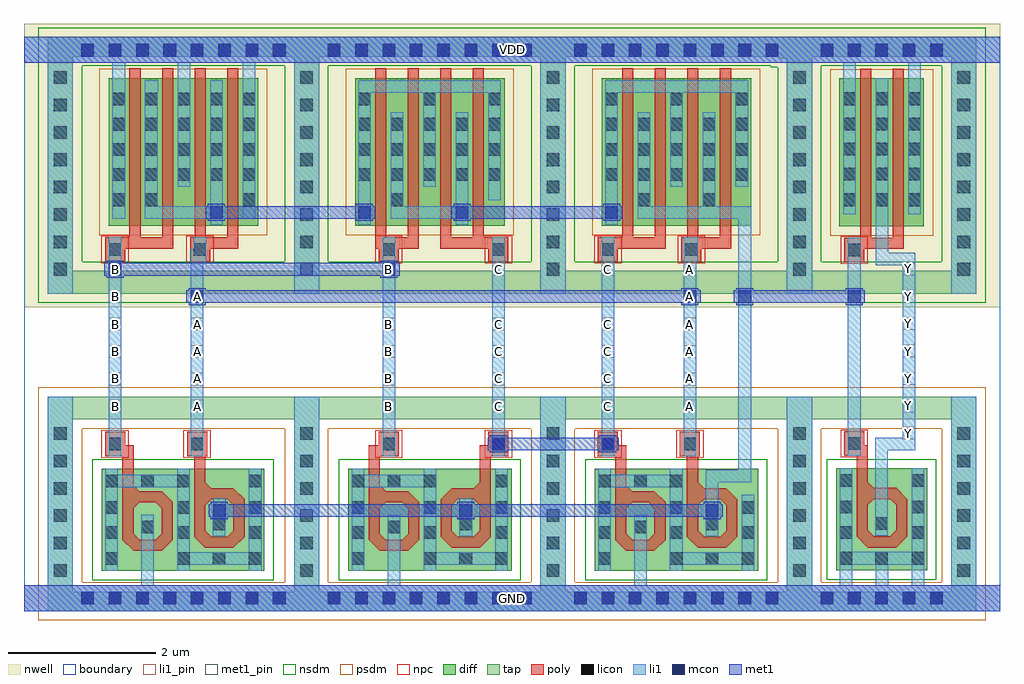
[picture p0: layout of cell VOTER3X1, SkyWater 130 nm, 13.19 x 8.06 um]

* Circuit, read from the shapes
.subckt VOTER3X1 A B C GND VDD Y
XM1 n1 B GND GND sky130_fd_pr__nfet_01v8 w=2.6 l=0.1476
XM2 n1 A n2 GND sky130_fd_pr__nfet_01v8 w=2.56 l=0.1474
XM3 n3 B GND GND sky130_fd_pr__nfet_01v8 w=2.6 l=0.1469
XM4 n3 C n2 GND sky130_fd_pr__nfet_01v8 w=2.56 l=0.1479
XM5 n4 C GND GND sky130_fd_pr__nfet_01v8 w=2.6 l=0.1475
XM6 n4 A n2 GND sky130_fd_pr__nfet_01v8 w=2.56 l=0.1474
XM7 GND n2 Y GND sky130_fd_pr__nfet_01v8 w=2.56 l=0.1492
XM8 n5 B VDD VDD sky130_fd_pr__pfet_01v8 w=2 l=0.15 m=2
XM9 n5 A VDD VDD sky130_fd_pr__pfet_01v8 w=2 l=0.15 m=2
XM10 n6 B n5 VDD sky130_fd_pr__pfet_01v8 w=2 l=0.15 m=2
XM11 n6 C n5 VDD sky130_fd_pr__pfet_01v8 w=2 l=0.15 m=2
XM12 n2 C n6 VDD sky130_fd_pr__pfet_01v8 w=2 l=0.15 m=2
XM13 n2 A n6 VDD sky130_fd_pr__pfet_01v8 w=2 l=0.15 m=2
XM14 Y n2 VDD VDD sky130_fd_pr__pfet_01v8 w=2 l=0.15 m=2
.ends

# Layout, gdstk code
from math import pi, radians
import gdstk
lib = gdstk.Library(unit=1e-6, precision=1e-09)
def R(c, l, rs):  # rectangles x0, y0, x1, y1
    for r in rs: c.add(gdstk.rectangle(r[:2], r[2:], *l))
def A(c, l, x, y, w, h, nx, ny, dx, dy):  # array of equal rectangles
    R(c, l, [(x+i*dx, y+j*dy, x+i*dx+w, y+j*dy+h) for i in range(nx) for j in range(ny)])
def P(c, l, *ps):  # polygons
    for p in ps: c.add(gdstk.Polygon(p, *l))
nwell = (64, 20)
diff = (65, 20)
tap = (65, 44)
poly = (66, 20)
licon = (66, 44)
li1_pin = (67, 16)
li1 = (67, 20)
mcon = (67, 44)
met1_pin = (68, 16)
met1 = (68, 20)
nsdm = (93, 44)
psdm = (94, 20)
npc = (95, 20)
boundary = (235, 4)

diff_ring_side = lib.new_cell('diff_ring_side')
R(diff_ring_side, nwell, [(-0.435,3.93,0.435,7.75)])
R(diff_ring_side, tap, [(-0.17,-0.17,0.17,2.72), (-0.17,4.11,0.17,7.57)])
A(diff_ring_side, licon, -0.085, 0.285, 0.17, 0.17, 1, 6, 0, 0.37)
A(diff_ring_side, licon, -0.085, 4.355, 0.17, 0.17, 1, 8, 0, 0.37)
R(diff_ring_side, li1, [(-0.17,-0.17,0.17,2.72), (-0.17,4.11,0.17,7.57)])
R(diff_ring_side, met1, [(-0.17,-0.17,0.17,0.17), (-0.17,7.23,0.17,7.57)])
R(diff_ring_side, nsdm, [(-0.295,3.985,0.295,7.695)])
R(diff_ring_side, psdm, [(-0.295,-0.295,0.295,2.845)])

li1_m1_contact = lib.new_cell('li1_M1_contact')
R(li1_m1_contact, li1, [(-0.085,-0.165,0.085,0.165)])
R(li1_m1_contact, mcon, [(-0.085,-0.085,0.085,0.085)])
R(li1_m1_contact, met1, [(-0.115,-0.115,0.115,-0.085), (-0.265,-0.085,0.145,0.085), (-0.115,0.085,0.115,0.115)])

nmos_bottom = lib.new_cell('nmos_bottom')
R(nmos_bottom, diff, [(0,0,1.24,1.38)])
R(nmos_bottom, poly, [(0.43,0.27,0.81,0.42), (0.28,0.42,0.43,0.925), (0.81,0.42,0.96,0.925), (0.43,0.925,0.96,1.075), (0.81,1.075,0.96,1.51)])
P(nmos_bottom, poly, [(0.73,1.075),(0.81,1.075),(0.81,1.155)],
  [(0.28,0.925),(0.43,0.925),(0.43,1.075)],
  [(0.43,0.845),(0.43,0.925),(0.51,0.925)],
  [(0.73,0.925),(0.81,0.925),(0.81,0.845)],
  [(0.43,0.5),(0.43,0.42),(0.51,0.42)],
  [(0.73,0.42),(0.81,0.42),(0.81,0.5)],
  [(0.28,0.42),(0.43,0.42),(0.43,0.27)],
  [(0.81,0.27),(0.81,0.42),(0.96,0.42)])
A(nmos_bottom, licon, 0.05, 1.13, 0.17, 0.17, 3, 1, 0.485, 0)
R(nmos_bottom, licon, [(0.05,0.08,0.22,0.25), (1.02,0.08,1.19,0.25), (0.05,0.43,0.22,0.6), (1.02,0.43,1.19,0.6), (0.535,0.505,0.705,0.675), (0.05,0.77,0.22,0.94), (1.02,0.77,1.19,0.94)])
R(nmos_bottom, li1, [(0.05,0,0.22,1.13), (1.02,0,1.19,1.13), (0.535,0.425,0.705,0.755), (0.05,1.13,1.19,1.3), (0.05,1.3,0.22,1.38), (1.02,1.3,1.19,1.38)])
R(nmos_bottom, nsdm, [(-0.125,-0.125,1.365,1.505)])

pmos2_1 = lib.new_cell('pmos2_1')
R(pmos2_1, nwell, [(0.26,-2.175,1.76,0.185)])
R(pmos2_1, diff, [(0.44,-1.995,1.58,0.005)])
R(pmos2_1, poly, [(0.72,-2.3,1.31,-2.15), (0.72,-2.15,0.87,0.135), (1.16,-2.15,1.31,0.135)])
A(pmos2_1, licon, 0.49, -1.385, 0.17, 0.17, 3, 3, 0.44, 0.34)
A(pmos2_1, li1, 0.49, -1.465, 0.17, 1.01, 3, 1, 0.44, 0)
R(pmos2_1, psdm, [(0.315,-2.12,1.705,0.13)])

poly_li1_contact = lib.new_cell('poly_li1_contact')
R(poly_li1_contact, poly, [(-0.16,-0.14,0.17,0.13)])
R(poly_li1_contact, licon, [(-0.08,-0.09,0.09,0.08)])
R(poly_li1_contact, li1, [(-0.16,-0.09,0.17,0.08)])
R(poly_li1_contact, npc, [(-0.18,-0.19,0.19,0.18)])

nmos_top = lib.new_cell('nmos_top')
R(nmos_top, diff, [(0,0,1.23,1.38)])
R(nmos_top, poly, [(0.42,0.31,0.8,0.46), (0.27,0.46,0.42,0.965), (0.8,0.46,0.95,0.965), (0.42,0.965,0.95,1.115), (0.8,1.115,0.95,1.54)])
P(nmos_top, poly, [(0.72,1.115),(0.8,1.115),(0.8,1.195)],
  [(0.27,0.965),(0.42,0.965),(0.42,1.115)],
  [(0.42,0.885),(0.42,0.965),(0.5,0.965)],
  [(0.72,0.965),(0.8,0.965),(0.8,0.885)],
  [(0.42,0.54),(0.42,0.46),(0.5,0.46)],
  [(0.72,0.46),(0.8,0.46),(0.8,0.54)],
  [(0.27,0.46),(0.42,0.46),(0.42,0.31)],
  [(0.8,0.31),(0.8,0.46),(0.95,0.46)])
R(nmos_top, licon, [(0.04,0.08,0.21,0.25), (0.53,0.08,0.7,0.25), (1.01,0.08,1.18,0.25), (0.04,0.43,0.21,0.6), (1.01,0.43,1.18,0.6), (0.53,0.55,0.7,0.72), (0.04,0.77,0.21,0.94), (1.01,0.77,1.18,0.94), (0.04,1.13,0.21,1.3), (1.01,1.13,1.18,1.3)])
R(nmos_top, li1, [(0.04,0,0.21,0.08), (1.01,0,1.18,0.08), (0.04,0.08,1.18,0.25), (0.04,0.25,0.21,1.38), (1.01,0.25,1.18,1.38), (0.53,0.47,0.7,0.805)])
R(nmos_top, nsdm, [(-0.125,-0.125,1.355,1.505)])

nmos_top_trim1 = lib.new_cell('nmos_top_trim1')
R(nmos_top_trim1, diff, [(0,0,1.24,1.38)])
R(nmos_top_trim1, poly, [(0.43,0.31,0.81,0.46), (0.28,0.46,0.43,0.965), (0.81,0.46,0.96,0.965), (0.43,0.965,0.96,1.115), (0.81,1.115,0.96,1.545)])
P(nmos_top_trim1, poly, [(0.73,1.115),(0.81,1.115),(0.81,1.195)],
  [(0.28,0.965),(0.43,0.965),(0.43,1.115)],
  [(0.43,0.885),(0.43,0.965),(0.51,0.965)],
  [(0.73,0.965),(0.81,0.965),(0.81,0.885)],
  [(0.43,0.54),(0.43,0.46),(0.51,0.46)],
  [(0.73,0.46),(0.81,0.46),(0.81,0.54)],
  [(0.28,0.46),(0.43,0.46),(0.43,0.31)],
  [(0.81,0.31),(0.81,0.46),(0.96,0.46)])
A(nmos_top_trim1, licon, 0.05, 0.08, 0.17, 0.17, 3, 1, 0.485, 0)
R(nmos_top_trim1, licon, [(0.05,0.43,0.22,0.6), (1.02,0.43,1.19,0.6), (0.535,0.55,0.705,0.72), (0.05,0.77,0.22,0.94), (1.02,0.77,1.19,0.94), (1.02,1.13,1.19,1.3)])
R(nmos_top_trim1, li1, [(0.05,0,0.22,0.08), (1.02,0,1.19,0.08), (0.05,0.08,1.19,0.25), (0.05,0.25,0.22,1.02), (1.02,0.25,1.19,1.38), (0.535,0.47,0.705,0.805)])
R(nmos_top_trim1, nsdm, [(-0.125,-0.125,1.365,1.505)])

nmos_top_trim2 = lib.new_cell('nmos_top_trim2')
R(nmos_top_trim2, diff, [(0,0,1.24,1.38)])
R(nmos_top_trim2, poly, [(0.43,0.31,0.81,0.46), (0.28,0.46,0.43,0.89), (0.81,0.46,0.96,0.89), (0.28,0.89,0.435,0.965), (0.805,0.89,0.96,0.965), (0.43,0.965,0.96,1.115), (0.81,1.115,0.96,1.545)])
P(nmos_top_trim2, poly, [(0.73,1.115),(0.81,1.115),(0.81,1.195)],
  [(0.28,0.965),(0.43,0.965),(0.43,1.115)],
  [(0.435,0.89),(0.435,0.965),(0.51,0.965)],
  [(0.73,0.965),(0.805,0.965),(0.805,0.89)],
  [(0.43,0.54),(0.43,0.46),(0.51,0.46)],
  [(0.73,0.46),(0.81,0.46),(0.81,0.54)],
  [(0.28,0.46),(0.43,0.46),(0.43,0.31)],
  [(0.81,0.31),(0.81,0.46),(0.96,0.46)])
A(nmos_top_trim2, licon, 0.05, 0.08, 0.17, 0.17, 3, 1, 0.485, 0)
R(nmos_top_trim2, licon, [(0.05,0.43,0.22,0.6), (1.02,0.43,1.19,0.6), (0.535,0.55,0.705,0.72), (0.05,0.77,0.22,0.94), (1.02,0.77,1.19,0.94)])
R(nmos_top_trim2, li1, [(0.05,0,0.22,0.08), (1.02,0,1.19,0.08), (0.05,0.08,1.19,0.25), (0.05,0.25,0.22,1.025), (1.02,0.25,1.19,1.025), (0.535,0.47,0.705,0.805)])
R(nmos_top_trim2, nsdm, [(-0.125,-0.125,1.365,1.505)])

votern3x1_pcell = lib.new_cell('votern3x1_pcell')
A(votern3x1_pcell, nwell, 0.435, 7.645, 2.46, 0.105, 3, 1, 3.33, 0)
R(votern3x1_pcell, nwell, [(0.42,3.93,2.91,7.23), (3.75,3.93,6.24,7.28), (7.08,3.93,9.57,7.275), (0.17,7.23,2.91,7.28), (7.08,7.275,9.56,7.315), (0.17,7.28,2.9,7.515), (3.75,7.28,6.23,7.3), (3.76,7.3,6.23,7.52), (7.09,7.315,9.56,7.51), (7.09,7.51,9.57,7.525), (0.17,7.515,2.91,7.54), (3.75,7.52,6.24,7.645), (7.08,7.525,9.57,7.645), (0.42,7.54,2.91,7.645)])
A(votern3x1_pcell, diff, 0.705, 6.655, 0.17, 0.17, 5, 1, 0.44, 0)
A(votern3x1_pcell, diff, 4.025, 6.655, 0.17, 0.17, 3, 1, 0.88, 0)
A(votern3x1_pcell, diff, 7.365, 6.655, 0.17, 0.17, 3, 1, 0.88, 0)
R(votern3x1_pcell, diff, [(0.705,5.295,0.875,5.465), (1.145,5.295,1.315,5.465), (2.465,5.295,2.635,5.465), (4.465,5.295,4.635,5.465), (7.805,5.295,7.975,5.465), (8.685,5.295,8.855,5.465)])
A(votern3x1_pcell, tap, 0.17, -0.17, 2.99, 0.255, 3, 2, 3.33, 7.485)
A(votern3x1_pcell, tap, 0.17, 2.41, 2.99, 0.31, 3, 1, 3.33, 0)
R(votern3x1_pcell, tap, [(0.17,4.11,3.175,4.42), (3.485,4.11,6.505,4.42), (6.815,4.11,9.82,4.42), (9.73,7.295,9.82,7.315)])
A(votern3x1_pcell, poly, 0.84, 1.875, 0.15, 0.19, 3, 1, 3.33, 0)
R(votern3x1_pcell, poly, [(1.81,1.905,1.96,1.915), (5.67,1.91,5.82,2.065), (8.47,1.91,8.62,1.915), (0.875,4.72,0.935,4.87), (5.725,4.72,5.785,4.87), (7.535,4.72,7.595,4.87)])
A(votern3x1_pcell, licon, 0.285, -0.085, 0.17, 0.17, 8, 2, 0.37, 7.4)
A(votern3x1_pcell, licon, 3.615, -0.085, 0.17, 0.17, 8, 2, 0.37, 7.4)
A(votern3x1_pcell, licon, 6.945, -0.085, 0.17, 0.17, 8, 2, 0.37, 7.4)
A(votern3x1_pcell, licon, 0.705, 6.655, 0.17, 0.17, 5, 1, 0.44, 0)
A(votern3x1_pcell, licon, 4.025, 6.655, 0.17, 0.17, 3, 1, 0.88, 0)
A(votern3x1_pcell, licon, 7.365, 6.655, 0.17, 0.17, 3, 1, 0.88, 0)
R(votern3x1_pcell, licon, [(0.705,5.295,0.875,5.465), (1.145,5.295,1.315,5.465), (2.465,5.295,2.635,5.465), (4.465,5.295,4.635,5.465), (7.805,5.295,7.975,5.465), (8.685,5.295,8.855,5.465)])
A(votern3x1_pcell, li1, 0.17, -0.17, 2.99, 0.34, 3, 2, 3.33, 7.4)
A(votern3x1_pcell, li1, 1.095, 0.17, 0.17, 0.625, 3, 1, 3.33, 0)
A(votern3x1_pcell, li1, 0.705, 6.565, 0.17, 0.665, 3, 1, 0.88, 0)
A(votern3x1_pcell, li1, 4.025, 6.565, 0.17, 0.26, 3, 1, 0.88, 0)
A(votern3x1_pcell, li1, 7.365, 6.565, 0.17, 0.26, 3, 1, 0.88, 0)
R(votern3x1_pcell, li1, [(8.725,1.345,8.895,1.56), (8.725,1.56,9.335,1.73), (9.165,1.73,9.335,5.125), (7.315,2.115,7.485,4.54), (4.355,2.15,4.525,4.54), (0.655,2.165,0.825,4.71), (1.765,2.165,1.785,2.195), (5.835,2.165,6.005,4.71), (8.425,2.165,8.595,4.87), (1.765,2.195,1.935,4.54), (1.765,4.54,1.805,4.71), (4.025,5.115,4.195,5.27), (0.705,5.125,0.875,5.555), (1.145,5.125,2.025,5.295), (2.465,5.125,2.635,5.555), (4.465,5.125,5.515,5.295), (7.365,5.125,7.535,5.19), (7.805,5.125,9.335,5.295), (1.145,5.295,1.315,5.555), (4.465,5.295,4.635,5.555), (7.805,5.295,7.975,5.555), (8.685,5.295,8.855,5.635), (2.025,5.375,2.195,5.555), (4.025,5.375,4.195,5.635), (5.345,5.375,5.515,5.555), (5.785,5.375,5.955,5.555), (7.365,5.375,7.535,5.555), (1.145,6.565,1.315,6.825), (2.025,6.565,2.195,6.995), (1.145,6.825,1.325,6.995), (4.025,6.825,5.955,6.995), (7.365,6.825,9.295,6.995)])
A(votern3x1_pcell, mcon, 0.285, -0.085, 0.17, 0.17, 8, 2, 0.37, 7.4)
A(votern3x1_pcell, mcon, 3.615, -0.085, 0.17, 0.17, 8, 2, 0.37, 7.4)
A(votern3x1_pcell, mcon, 6.945, -0.085, 0.17, 0.17, 8, 2, 0.37, 7.4)
A(votern3x1_pcell, met1, 0.17, -0.17, 2.99, 0.34, 3, 2, 3.33, 7.4)
R(votern3x1_pcell, met1, [(2.245,1.095,8.72,1.265), (6.005,1.995,7.265,2.165), (1.945,3.985,8.45,4.155), (0.83,4.355,4.525,4.525), (2.375,5.125,3.995,5.295), (5.675,5.125,7.33,5.295)])
R(votern3x1_pcell, nsdm, [(0.045,3.985,9.945,4.545), (9.605,7.17,9.945,7.19), (0.045,7.19,9.945,7.695)])
A(votern3x1_pcell, psdm, 3.9, 6.53, 0.42, 0.42, 3, 1, 0.88, 0)
A(votern3x1_pcell, psdm, 7.24, 6.53, 0.42, 0.42, 3, 1, 0.88, 0)
R(votern3x1_pcell, psdm, [(0.045,-0.295,9.945,0.21), (0.045,2.285,9.945,2.845), (0.58,5.17,1.44,5.59), (2.34,5.17,2.76,5.59), (4.34,5.17,4.76,5.59), (7.68,5.17,8.1,5.59), (8.56,5.17,8.98,5.59), (0.58,6.53,2.76,6.95)])
votern3x1_pcell.add(gdstk.Reference(diff_ring_side, (0,0)))
votern3x1_pcell.add(gdstk.Reference(li1_m1_contact, (0.74,4.44), rotation=pi, x_reflection=True))
votern3x1_pcell.add(gdstk.Reference(nmos_bottom, (1.8,0.365), rotation=pi, x_reflection=True))
votern3x1_pcell.add(gdstk.Reference(pmos2_1, (0.215,7.02)))
votern3x1_pcell.add(gdstk.Reference(poly_li1_contact, (0.745,4.71), rotation=3*pi/2))
votern3x1_pcell.add(gdstk.Reference(poly_li1_contact, (0.745,2.085), rotation=3*pi/2))
votern3x1_pcell.add(gdstk.Reference(li1_m1_contact, (2.15,1.18), rotation=pi, x_reflection=True))
votern3x1_pcell.add(gdstk.Reference(li1_m1_contact, (2.11,5.21), rotation=pi, x_reflection=True))
votern3x1_pcell.add(gdstk.Reference(li1_m1_contact, (1.85,4.07), rotation=pi, x_reflection=True))
votern3x1_pcell.add(gdstk.Reference(nmos_top, (2.76,0.365), rotation=pi, x_reflection=True))
votern3x1_pcell.add(gdstk.Reference(pmos2_1, (1.095,7.02)))
votern3x1_pcell.add(gdstk.Reference(poly_li1_contact, (1.845,2.075), rotation=pi/2))
votern3x1_pcell.add(gdstk.Reference(poly_li1_contact, (1.895,4.71), rotation=3*pi/2))
votern3x1_pcell.add(gdstk.Reference(diff_ring_side, (3.33,0)))
votern3x1_pcell.add(gdstk.Reference(li1_m1_contact, (4.11,5.21), x_reflection=True))
votern3x1_pcell.add(gdstk.Reference(nmos_bottom, (5.13,0.365), rotation=pi, x_reflection=True))
votern3x1_pcell.add(gdstk.Reference(pmos2_1, (5.565,7.02), rotation=pi, x_reflection=True))
votern3x1_pcell.add(gdstk.Reference(li1_m1_contact, (5.48,1.18)))
votern3x1_pcell.add(gdstk.Reference(li1_m1_contact, (5.43,5.21), rotation=pi))
votern3x1_pcell.add(gdstk.Reference(li1_m1_contact, (4.44,4.44)))
votern3x1_pcell.add(gdstk.Reference(nmos_top_trim1, (4.86,0.365)))
votern3x1_pcell.add(gdstk.Reference(pmos2_1, (6.445,7.02), rotation=pi, x_reflection=True))
votern3x1_pcell.add(gdstk.Reference(poly_li1_contact, (4.435,2.085), rotation=3*pi/2, x_reflection=True))
votern3x1_pcell.add(gdstk.Reference(poly_li1_contact, (4.435,4.71), rotation=3*pi/2, x_reflection=True))
votern3x1_pcell.add(gdstk.Reference(diff_ring_side, (6.66,0)))
votern3x1_pcell.add(gdstk.Reference(li1_m1_contact, (5.92,2.08), rotation=pi, x_reflection=True))
votern3x1_pcell.add(gdstk.Reference(poly_li1_contact, (5.915,2.085), rotation=3*pi/2, x_reflection=True))
votern3x1_pcell.add(gdstk.Reference(poly_li1_contact, (5.915,4.71), rotation=3*pi/2, x_reflection=True))
votern3x1_pcell.add(gdstk.Reference(poly_li1_contact, (8.505,2.085), rotation=3*pi/2, x_reflection=True))
votern3x1_pcell.add(gdstk.Reference(poly_li1_contact, (7.395,2.085), rotation=3*pi/2, x_reflection=True))
votern3x1_pcell.add(gdstk.Reference(nmos_top_trim2, (9.43,0.365), rotation=pi, x_reflection=True))
votern3x1_pcell.add(gdstk.Reference(nmos_bottom, (8.46,0.365), rotation=pi, x_reflection=True))
votern3x1_pcell.add(gdstk.Reference(li1_m1_contact, (7.4,2.08)))
votern3x1_pcell.add(gdstk.Reference(li1_m1_contact, (8.81,1.18)))
votern3x1_pcell.add(gdstk.Reference(poly_li1_contact, (8.535,4.71), rotation=3*pi/2))
votern3x1_pcell.add(gdstk.Reference(poly_li1_contact, (7.405,4.71), rotation=3*pi/2))
votern3x1_pcell.add(gdstk.Reference(pmos2_1, (7.755,7.02)))
votern3x1_pcell.add(gdstk.Reference(pmos2_1, (6.875,7.02)))
votern3x1_pcell.add(gdstk.Reference(li1_m1_contact, (8.51,4.07)))
votern3x1_pcell.add(gdstk.Reference(li1_m1_contact, (7.45,5.21)))
votern3x1_pcell.add(gdstk.Reference(diff_ring_side, (9.99,0)))

pmos2 = lib.new_cell('pmos2')
R(pmos2, nwell, [(0.26,-2.18,1.76,0.18)])
R(pmos2, diff, [(0.44,-2,1.58,0)])
R(pmos2, poly, [(0.72,-2.305,1.31,-2.155), (0.72,-2.155,0.87,0.13), (1.16,-2.155,1.31,0.13)])
A(pmos2, licon, 0.49, -1.38, 0.17, 0.17, 3, 4, 0.44, 0.34)
R(pmos2, li1, [(0.49,-1.465,0.66,0.21), (0.93,-1.465,1.1,0), (1.37,-1.465,1.54,0.21)])
R(pmos2, psdm, [(0.315,-2.125,1.705,0.125)])

invx1_pcell = lib.new_cell('invx1_pcell')
R(invx1_pcell, nwell, [(-0.435,3.93,2.655,7.75)])
A(invx1_pcell, diff, 0.59, 5.295, 0.17, 0.17, 3, 1, 0.44, 0)
R(invx1_pcell, tap, [(0.17,-0.17,2.05,0.085), (0.17,2.41,2.05,2.72), (0.17,4.11,2.05,4.42), (0.17,7.315,2.05,7.57)])
R(invx1_pcell, poly, [(0.775,1.905,0.925,2.065)])
A(invx1_pcell, licon, 0.285, -0.085, 0.17, 0.17, 5, 2, 0.37, 7.4)
A(invx1_pcell, licon, 0.59, 5.295, 0.17, 0.17, 3, 1, 0.44, 0)
R(invx1_pcell, li1, [(0.17,-0.17,2.05,0.17), (0.545,0.17,0.715,0.45), (1.03,0.17,1.2,0.455), (1.515,0.17,1.685,0.45), (1.025,1.165,1.195,1.995), (1.025,1.995,1.565,2.165), (1.395,2.165,1.565,4.495), (0.655,2.245,0.825,4.54), (1.03,4.495,1.565,4.665), (1.03,4.665,1.2,5.555), (0.59,5.185,0.76,5.555), (1.47,5.185,1.64,5.555), (0.17,7.23,2.05,7.57)])
A(invx1_pcell, mcon, 0.285, -0.085, 0.17, 0.17, 5, 2, 0.37, 7.4)
R(invx1_pcell, met1, [(0.17,-0.17,2.05,0.17), (0.17,7.23,2.05,7.57)])
R(invx1_pcell, nsdm, [(0.045,3.985,2.175,4.545), (0.045,7.19,2.175,7.695)])
R(invx1_pcell, psdm, [(0.045,-0.295,2.175,0.21), (0.045,2.285,2.175,2.845), (0.465,5.17,1.765,5.59)])
invx1_pcell.add(gdstk.Reference(poly_li1_contact, (0.735,2.08), rotation=pi/2))
invx1_pcell.add(gdstk.Reference(poly_li1_contact, (0.745,4.705), rotation=3*pi/2))
invx1_pcell.add(gdstk.Reference(pmos2, (0.1,7.02)))
invx1_pcell.add(gdstk.Reference(nmos_top, (1.725,0.37), rotation=pi, x_reflection=True))
invx1_pcell.add(gdstk.Reference(diff_ring_side, (0,0)))
invx1_pcell.add(gdstk.Reference(diff_ring_side, (2.22,0)))

voter3x1_pcell = lib.new_cell('voter3x1_pcell')
R(voter3x1_pcell, met1, [(9.335,3.985,10.54,4.155)])
voter3x1_pcell.add(gdstk.Reference(votern3x1_pcell, (0,0)))
voter3x1_pcell.add(gdstk.Reference(li1_m1_contact, (9.25,4.07), rotation=pi))
voter3x1_pcell.add(gdstk.Reference(li1_m1_contact, (10.73,4.07)))
voter3x1_pcell.add(gdstk.Reference(invx1_pcell, (9.99,0)))

voter3x1 = lib.new_cell('VOTER3X1')
R(voter3x1, nwell, [(0,4.11,13.19,7.94)])
R(voter3x1, tap, [(0.32,0,12.87,0.065), (0.32,7.735,12.87,7.76)])
A(voter3x1, li1_pin, 11.875, 2.32, 0.17, 0.17, 1, 7, 0, 0.37)
A(voter3x1, li1_pin, 1.145, 2.685, 0.17, 0.17, 1, 6, 0, 0.37)
A(voter3x1, li1_pin, 2.255, 2.685, 0.17, 0.17, 1, 5, 0, 0.37)
A(voter3x1, li1_pin, 4.845, 2.685, 0.17, 0.17, 3, 4, 1.48, 0.37)
A(voter3x1, li1_pin, 8.915, 2.685, 0.17, 0.17, 1, 6, 0, 0.37)
A(voter3x1, li1_pin, 4.845, 4.535, 0.17, 0.17, 3, 1, 1.48, 0)
A(voter3x1, li1, 11.875, 2.32, 0.17, 0.17, 1, 7, 0, 0.37)
A(voter3x1, li1, 1.145, 2.685, 0.17, 0.17, 1, 6, 0, 0.37)
A(voter3x1, li1, 2.255, 2.685, 0.17, 0.17, 1, 5, 0, 0.37)
A(voter3x1, li1, 4.845, 2.685, 0.17, 0.17, 3, 4, 1.48, 0.37)
A(voter3x1, li1, 8.915, 2.685, 0.17, 0.17, 1, 6, 0, 0.37)
A(voter3x1, li1, 4.845, 4.535, 0.17, 0.17, 3, 1, 1.48, 0)
R(voter3x1, li1, [(0,0,13.19,0.085), (0,0.085,0.46,0.35), (12.74,0.085,13.19,0.35), (0,7.41,0.44,7.675), (12.73,7.41,13.19,7.675), (0,7.675,13.19,7.76)])
R(voter3x1, met1_pin, [(0,0,13.19,0.35), (0,7.41,13.19,7.76)])
R(voter3x1, met1, [(0,0,13.19,0.35), (0,7.41,13.19,7.76)])
R(voter3x1, nsdm, [(0.195,7.61,12.995,7.885)])
R(voter3x1, psdm, [(0.195,-0.125,12.995,0.19)])
R(voter3x1, boundary, [(0,0,13.19,7.76)])
voter3x1.add(gdstk.Reference(voter3x1_pcell, (0.49,0.18)))
voter3x1.add(gdstk.Label('Y', (11.96,2.405), layer=67, texttype=5))
voter3x1.add(gdstk.Label('Y', (11.96,2.775), layer=67, texttype=5))
voter3x1.add(gdstk.Label('Y', (11.96,3.145), layer=67, texttype=5))
voter3x1.add(gdstk.Label('Y', (11.96,3.515), layer=67, texttype=5))
voter3x1.add(gdstk.Label('Y', (11.96,4.625), layer=67, texttype=5))
voter3x1.add(gdstk.Label('Y', (11.96,3.885), layer=67, texttype=5))
voter3x1.add(gdstk.Label('Y', (11.96,4.255), layer=67, texttype=5))
voter3x1.add(gdstk.Label('A', (9,4.25), layer=67, texttype=5))
voter3x1.add(gdstk.Label('A', (9,3.88), layer=67, texttype=5))
voter3x1.add(gdstk.Label('A', (9,3.51), layer=67, texttype=5))
voter3x1.add(gdstk.Label('A', (9,3.14), layer=67, texttype=5))
voter3x1.add(gdstk.Label('A', (9,2.77), layer=67, texttype=5))
voter3x1.add(gdstk.Label('A', (2.34,2.77), layer=67, texttype=5))
voter3x1.add(gdstk.Label('A', (2.34,3.14), layer=67, texttype=5))
voter3x1.add(gdstk.Label('A', (2.34,3.51), layer=67, texttype=5))
voter3x1.add(gdstk.Label('A', (2.34,3.88), layer=67, texttype=5))
voter3x1.add(gdstk.Label('A', (2.34,4.25), layer=67, texttype=5))
voter3x1.add(gdstk.Label('A', (9,4.62), layer=67, texttype=5))
voter3x1.add(gdstk.Label('B', (4.93,4.62), layer=67, texttype=5))
voter3x1.add(gdstk.Label('B', (4.93,3.88), layer=67, texttype=5))
voter3x1.add(gdstk.Label('B', (4.93,3.51), layer=67, texttype=5))
voter3x1.add(gdstk.Label('B', (4.93,3.14), layer=67, texttype=5))
voter3x1.add(gdstk.Label('B', (4.93,2.77), layer=67, texttype=5))
voter3x1.add(gdstk.Label('B', (1.23,2.77), layer=67, texttype=5))
voter3x1.add(gdstk.Label('B', (1.23,3.14), layer=67, texttype=5))
voter3x1.add(gdstk.Label('B', (1.23,3.51), layer=67, texttype=5))
voter3x1.add(gdstk.Label('B', (1.23,3.88), layer=67, texttype=5))
voter3x1.add(gdstk.Label('B', (1.23,4.25), layer=67, texttype=5))
voter3x1.add(gdstk.Label('B', (1.23,4.62), layer=67, texttype=5))
voter3x1.add(gdstk.Label('C', (7.89,4.62), layer=67, texttype=5))
voter3x1.add(gdstk.Label('C', (7.89,3.88), layer=67, texttype=5))
voter3x1.add(gdstk.Label('C', (7.89,3.51), layer=67, texttype=5))
voter3x1.add(gdstk.Label('C', (7.89,3.14), layer=67, texttype=5))
voter3x1.add(gdstk.Label('C', (7.89,2.77), layer=67, texttype=5))
voter3x1.add(gdstk.Label('C', (6.41,4.62), layer=67, texttype=5))
voter3x1.add(gdstk.Label('C', (6.41,3.88), layer=67, texttype=5))
voter3x1.add(gdstk.Label('C', (6.41,3.51), layer=67, texttype=5))
voter3x1.add(gdstk.Label('C', (6.41,3.14), layer=67, texttype=5))
voter3x1.add(gdstk.Label('C', (6.41,2.77), layer=67, texttype=5))
voter3x1.add(gdstk.Label('VDD', (6.595,7.585), layer=68, texttype=5))
voter3x1.add(gdstk.Label('GND', (6.595,0.175), layer=68, texttype=5))

lib.write_gds('VOTER3X1.gds')
